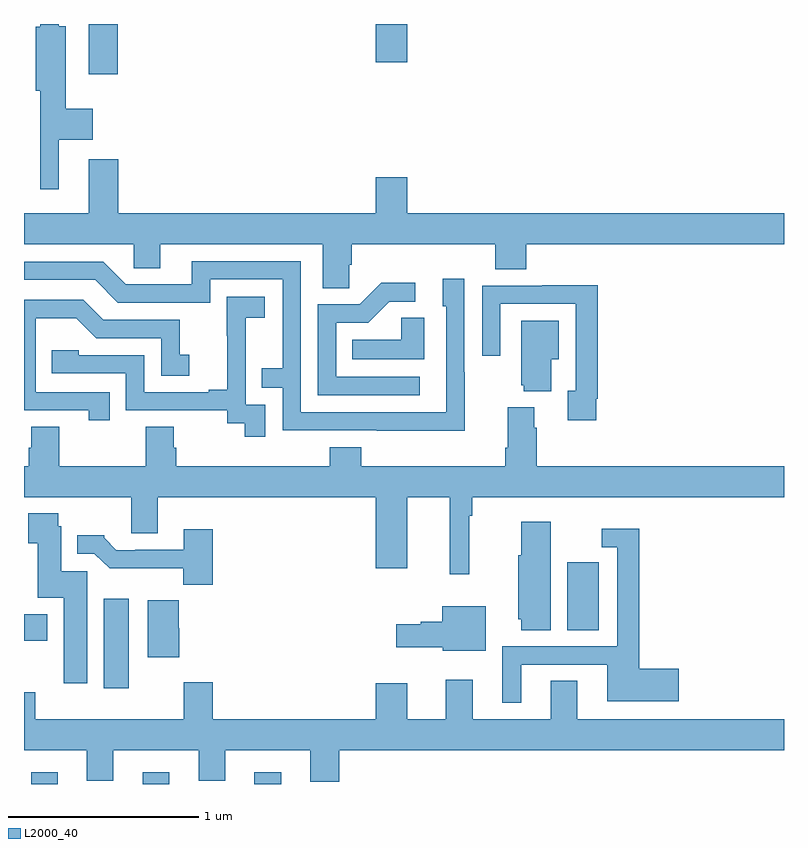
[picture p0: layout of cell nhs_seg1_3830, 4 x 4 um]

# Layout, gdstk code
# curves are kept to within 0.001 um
import gdstk
lib = gdstk.Library(unit=1e-6, precision=1e-09)
def R(c, l, rs):  # rectangles x0, y0, x1, y1
    for r in rs: c.add(gdstk.rectangle(r[:2], r[2:], *l))
def A(c, l, x, y, w, h, nx, ny, dx, dy):  # array of equal rectangles
    R(c, l, [(x+i*dx, y+j*dy, x+i*dx+w, y+j*dy+h) for i in range(nx) for j in range(ny)])
def P(c, l, *ps):  # polygons
    for p in ps: c.add(gdstk.Polygon(p, *l))
L2000_40 = (2000, 40)

nhs_seg1_3830 = lib.new_cell('nhs_seg1_3830')
A(nhs_seg1_3830, L2000_40, 319.037, 574.199, 0.14, 0.062, 3, 1, 0.588, 0)
R(nhs_seg1_3830, L2000_40, [(319.421,574.704,319.552,575.173), (319,574.952,319.123,575.092), (321.86,575.008,322.024,575.365), (319.34,577.935,319.493,578.199), (320.852,577.998,321.016,578.199)])
P(nhs_seg1_3830, L2000_40, [(319.183,577.589),(319.363,577.589),(319.363,577.753),(319.219,577.753),(319.219,578.188),(319.183,578.188),(319.183,578.199),(319.085,578.199),(319.085,578.184),(319.061,578.184),(319.061,577.848),(319.086,577.848),(319.086,577.329),(319.183,577.329)],
  [(320.712,576.931),(320.726,576.931),(320.726,577.04),(321.479,577.04),(321.479,576.907),(321.644,576.907),(321.644,577.04),(323,577.04),(323,577.204),(321.016,577.204),(321.016,577.393),(320.852,577.393),(320.852,577.204),(319.496,577.204),(319.496,577.486),(319.34,577.486),(319.34,577.204),(319,577.204),(319,577.04),(319.578,577.04),(319.578,576.913),(319.717,576.913),(319.717,577.04),(320.573,577.04),(320.573,576.808),(320.712,576.808)],
  [(321.321,576.365),(321.318,576.365),(321.318,576.859),(321.203,576.859),(321.203,576.714),(321.222,576.714),(321.222,576.156),(320.457,576.156),(320.457,576.951),(319.883,576.951),(319.883,576.828),(319.536,576.828),(319.416,576.948),(319,576.948),(319,576.852),(319.374,576.852),(319.494,576.732),(319.98,576.732),(319.98,576.855),(320.361,576.855),(320.361,576.386),(320.251,576.386),(320.251,576.285),(320.361,576.285),(320.361,576.06),(321.321,576.059)],
  [(321.082,576.342),(320.643,576.342),(320.643,576.627),(320.812,576.627),(320.923,576.738),(321.058,576.738),(321.058,576.836),(320.879,576.836),(320.766,576.723),(320.547,576.723),(320.547,576.246),(321.082,576.246)],
  [(322.012,576.226),(322.019,576.226),(322.019,576.824),(321.727,576.824),(321.727,576.822),(321.411,576.822),(321.411,576.453),(321.507,576.453),(321.507,576.726),(321.903,576.726),(321.903,576.27),(321.863,576.27),(321.863,576.114),(322.012,576.114)],
  [(320.271,576.195),(320.166,576.195),(320.166,576.425),(320.168,576.425),(320.168,576.653),(320.266,576.653),(320.266,576.763),(320.068,576.763),(320.068,576.557),(320.069,576.557),(320.069,576.274),(319.973,576.274),(319.973,576.261),(319.632,576.261),(319.632,576.456),(319.287,576.456),(319.287,576.483),(319.147,576.483),(319.147,576.36),(319.536,576.36),(319.536,576.165),(320.07,576.165),(320.07,576.097),(320.163,576.097),(320.163,576.027),(320.271,576.027)],
  [(319.451,576.261),(319.062,576.261),(319.062,576.65),(319.276,576.65),(319.38,576.546),(319.722,576.546),(319.722,576.348),(319.87,576.348),(319.87,576.457),(319.821,576.457),(319.821,576.642),(319.417,576.642),(319.312,576.747),(319,576.747),(319,576.165),(319.34,576.165),(319.34,576.114),(319.451,576.114)],
  [(321.106,576.653),(320.985,576.653),(320.985,576.538),(320.728,576.538),(320.728,576.434),(321.106,576.434)],
  [(321.775,576.434),(321.814,576.434),(321.814,576.637),(321.617,576.637),(321.617,576.297),(321.629,576.297),(321.629,576.266),(321.775,576.266)],
  [(321.344,575.612),(321.359,575.612),(321.359,575.708),(323,575.708),(323,575.872),(321.698,575.872),(321.698,576.074),(321.685,576.074),(321.685,576.181),(321.545,576.181),(321.545,575.968),(321.533,575.968),(321.533,575.872),(320.774,575.872),(320.774,575.971),(320.609,575.971),(320.609,575.872),(319.802,575.872),(319.802,575.97),(319.789,575.97),(319.789,576.08),(319.642,576.08),(319.642,575.872),(319.185,575.872),(319.185,576.08),(319.037,576.08),(319.037,575.97),(319.025,575.97),(319.025,575.872),(319,575.872),(319,575.708),(319.565,575.708),(319.565,575.518),(319.705,575.518),(319.705,575.708),(320.852,575.708),(320.852,575.334),(321.016,575.334),(321.016,575.708),(321.241,575.708),(321.241,575.304),(321.344,575.304)],
  [(319.333,575.319),(319.195,575.319),(319.195,575.556),(319.179,575.556),(319.179,575.623),(319.022,575.623),(319.022,575.467),(319.073,575.467),(319.073,575.18),(319.208,575.18),(319.208,574.728),(319.333,574.728)],
  [(321.772,575.578),(321.617,575.578),(321.617,575.403),(321.602,575.403),(321.602,575.067),(321.617,575.067),(321.617,575.008),(321.772,575.008)],
  [(321.616,574.827),(322.07,574.827),(322.07,574.634),(322.447,574.634),(322.447,574.805),(322.238,574.805),(322.238,575.542),(322.041,575.542),(322.041,575.445),(322.122,575.445),(322.122,574.923),(321.518,574.923),(321.518,574.626),(321.616,574.626)],
  [(319.994,575.539),(319.841,575.539),(319.841,575.433),(319.585,575.433),(319.585,575.43),(319.486,575.43),(319.422,575.494),(319.422,575.509),(319.28,575.509),(319.28,575.412),(319.371,575.412),(319.45,575.334),(319.839,575.334),(319.839,575.249),(319.994,575.249)],
  [(319.816,575.019),(319.814,575.019),(319.814,575.167),(319.652,575.167),(319.652,574.866),(319.816,574.866)],
  [(321.43,575.134),(321.2,575.134),(321.2,575.054),(321.087,575.054),(321.087,575.041),(320.958,575.041),(320.958,574.919),(321.204,574.919),(321.204,574.901),(321.43,574.901)],
  [(320.66,574.376),(323,574.376),(323,574.54),(321.913,574.54),(321.913,574.742),(321.773,574.742),(321.773,574.54),(321.361,574.54),(321.361,574.747),(321.221,574.747),(321.221,574.54),(321.016,574.54),(321.016,574.729),(320.852,574.729),(320.852,574.54),(319.994,574.54),(319.994,574.735),(319.841,574.735),(319.841,574.54),(319.058,574.54),(319.058,574.681),(319,574.681),(319,574.376),(319.331,574.376),(319.331,574.216),(319.471,574.216),(319.471,574.376),(319.919,574.376),(319.919,574.216),(320.059,574.216),(320.059,574.376),(320.507,574.376),(320.507,574.212),(320.66,574.212)])

lib.write_gds('nhs_seg1_3830.gds')
